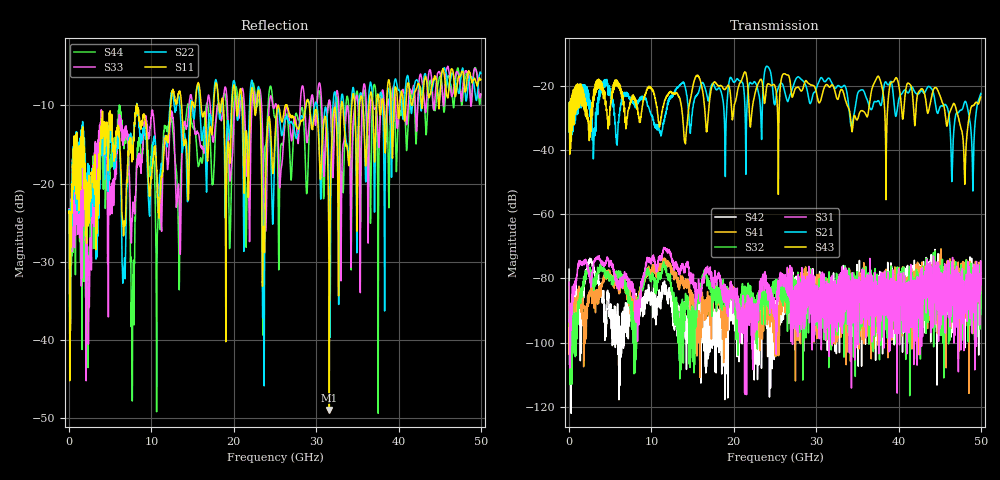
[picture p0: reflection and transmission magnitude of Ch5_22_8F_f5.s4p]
!Agilent Technologies,N5247A,US51170199,A.09.90.13
!Agilent N5247A: A.09.90.13
!Date: Wednesday, December 09, 2015 09:28:07
!Correction: S11(Full 4 Port(1,2,3,4))
!S12(Full 4 Port(1,2,3,4))
!S13(Full 4 Port(1,2,3,4))
!S14(Full 4 Port(1,2,3,4))
!S21(Full 4 Port(1,2,3,4))
!S22(Full 4 Port(1,2,3,4))
!S23(Full 4 Port(1,2,3,4))
!S24(Full 4 Port(1,2,3,4))
!S31(Full 4 Port(1,2,3,4))
!S32(Full 4 Port(1,2,3,4))
!S33(Full 4 Port(1,2,3,4))
!S34(Full 4 Port(1,2,3,4))
!S41(Full 4 Port(1,2,3,4))
!S42(Full 4 Port(1,2,3,4))
!S43(Full 4 Port(1,2,3,4))
!S44(Full 4 Port(1,2,3,4))
!S4P File: Measurements: <S11,S12,S13,S14>,
!<S21,S22,S23,S24>,
!<S31,S32,S33,S34>,
!<S41,S42,S43,S44>:
# Hz S  dB  R 50
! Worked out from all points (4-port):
!   3201 points, 10 MHz to 50 GHz, reference 50 ohm
!   strongest paths, dB at 10 MHz, 12.51 GHz, 25 GHz, 37.5 GHz, 50 GHz:
!     S43: -34.3, -22.4, -20.2, -17.1, -23.6
!     S21: -34.5, -23.5, -25.9, -24.7, -22.4
!     S31: -81.1, -74.2, -89.9, -88.8, -82.0
!     S32: -81.0, -83.7, -82.0, -86.1, -79.0
!     S41: -88.1, -78.4, -92.8, -90.8, -83.1
!     S42: -77.2, -87.4, -89.9, -91.8, -82.8
!   lowest |S11| = -49.0 dB at 31.6 GHz (marker M1), VSWR 1.01, Z = 50.2 - j0.257 ohm
!   |S11| at or under -10 dB: start of sweep to 8.216 GHz; 8.247 GHz to 12.35 GHz (4.099 GHz wide, 39.8 % of centre); 29.17 GHz to 33.04 GHz (3.873 GHz wide, 12.5 % of centre)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
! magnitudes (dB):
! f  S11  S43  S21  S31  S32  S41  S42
! 10 MHz  -23.8  -34.3  -34.5  -81.1  -81.0  -88.1  -77.2
! 7.712 GHz  -15.6  -23.3  -24.9  -84.5  -94.4  -87.9  -90.1
! 14.1 GHz  -14.6  -37.6  -20.3  -77.2  -89.7  -81.4  -95.6
! 15.68 GHz  -7.1  -16.9  -22.4  -83.9  -85.0  -98.1  -94.1
! 31.6 GHz  -49.0  -20.5  -17.7  -82.1  -81.7  -78.8  -91.1
! 48.05 GHz  -8.1  -50.7  -25.0  -86.8  -88.5  -83.7  -100.8
! 50 GHz  -6.7  -23.6  -22.4  -82.0  -79.0  -83.1  -82.8
